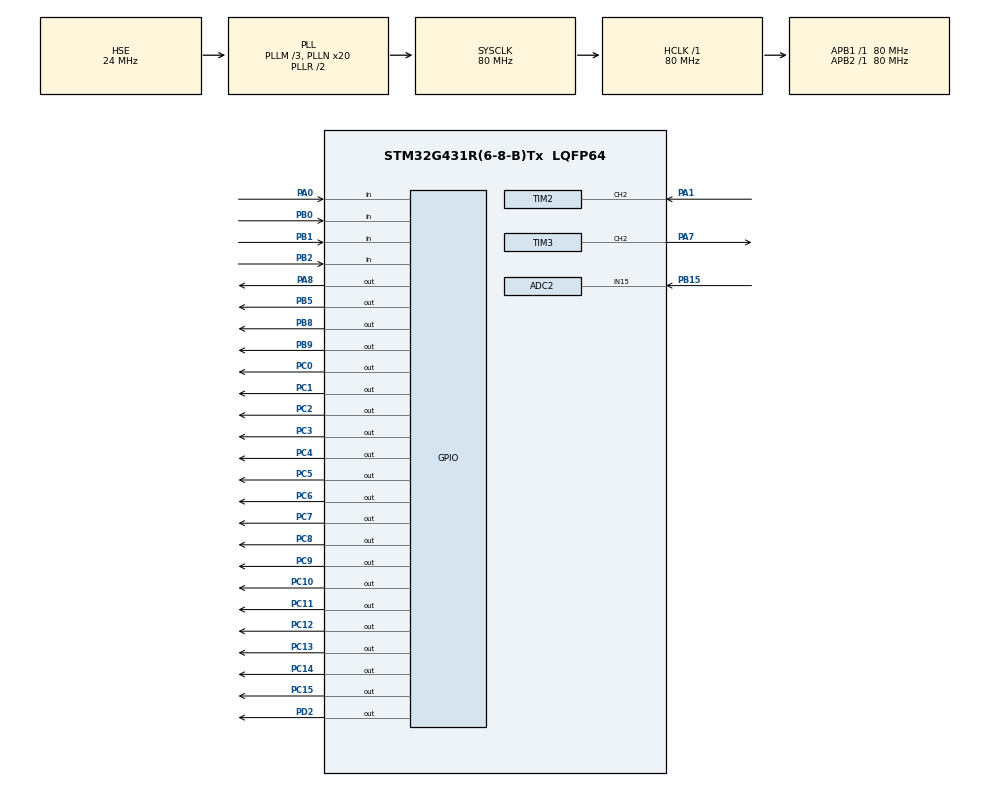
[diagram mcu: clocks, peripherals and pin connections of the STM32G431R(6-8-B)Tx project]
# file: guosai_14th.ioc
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ADC2.Channel-0\#ChannelRegularConversion=ADC_CHANNEL_15
ADC2.NbrOfConversionFlag=1
ADC2.OffsetNumber-0\#ChannelRegularConversion=ADC_OFFSET_NONE
ADC2.Rank-0\#ChannelRegularConversion=1
ADC2.SamplingTime-0\#ChannelRegularConversion=ADC_SAMPLETIME_2CYCLES_5
Mcu.Family=STM32G4
Mcu.Name=STM32G431R(6-8-B)Tx
Mcu.Package=LQFP64
NVIC.PriorityGroup=NVIC_PRIORITYGROUP_4
NVIC.TIM2_IRQn=true\:0\:0\:false\:false\:true\:true\:true\:true
NVIC.TIM4_IRQn=true\:0\:0\:false\:false\:true\:true\:true\:true
PA0.GPIO_PuPd=GPIO_PULLUP
PA0.Signal=GPIO_Input
PA1.Signal=S_TIM2_CH2
PA13.Mode=Serial_Wire
PA13.Signal=SYS_JTMS-SWDIO
PA14.Mode=Serial_Wire
PA14.Signal=SYS_JTCK-SWCLK
PA7.Signal=S_TIM3_CH2
PA8.Signal=GPIO_Output
PB0.GPIO_PuPd=GPIO_PULLUP
PB0.Signal=GPIO_Input
PB1.GPIO_PuPd=GPIO_PULLUP
PB1.Signal=GPIO_Input
PB15.Mode=IN15-Single-Ended
PB15.Signal=ADC2_IN15
PB2.GPIO_PuPd=GPIO_PULLUP
PB2.Signal=GPIO_Input
PB5.Signal=GPIO_Output
PB8-BOOT0.Signal=GPIO_Output
PB9.Signal=GPIO_Output
PC0.Signal=GPIO_Output
PC1.Signal=GPIO_Output
PC10.PinState=GPIO_PIN_SET
PC10.Signal=GPIO_Output
PC11.PinState=GPIO_PIN_SET
PC11.Signal=GPIO_Output
PC12.PinState=GPIO_PIN_SET
PC12.Signal=GPIO_Output
PC13.PinState=GPIO_PIN_SET
PC13.Signal=GPIO_Output
PC14-OSC32_IN.PinState=GPIO_PIN_SET
PC14-OSC32_IN.Signal=GPIO_Output
PC15-OSC32_OUT.PinState=GPIO_PIN_SET
PC15-OSC32_OUT.Signal=GPIO_Output
PC2.Signal=GPIO_Output
PC3.Signal=GPIO_Output
PC4.Signal=GPIO_Output
PC5.Signal=GPIO_Output
PC6.Signal=GPIO_Output
PC7.Signal=GPIO_Output
PC8.PinState=GPIO_PIN_SET
PC8.Signal=GPIO_Output
PC9.PinState=GPIO_PIN_SET
PC9.Signal=GPIO_Output
PD2.Signal=GPIO_Output
PF0-OSC_IN.Mode=HSE-External-Oscillator
PF0-OSC_IN.Signal=RCC_OSC_IN
PF1-OSC_OUT.Mode=HSE-External-Oscillator
PF1-OSC_OUT.Signal=RCC_OSC_OUT
ProjectManager.HeapSize=0x200
ProjectManager.StackSize=0x400
ProjectManager.TargetToolchain=MDK-ARM V5.32
RCC.ADC12Freq_Value=80000000
RCC.AHBFreq_Value=80000000
RCC.APB1Freq_Value=80000000
RCC.APB1TimFreq_Value=80000000
RCC.APB2Freq_Value=80000000
RCC.APB2TimFreq_Value=80000000
RCC.CortexFreq_Value=80000000
RCC.EXTERNAL_CLOCK_VALUE=12288000
RCC.HCLKFreq_Value=80000000
RCC.HSE_VALUE=24000000
RCC.HSI48_VALUE=48000000
RCC.HSI_VALUE=16000000
RCC.LSE_VALUE=32768
RCC.PLLM=RCC_PLLM_DIV3
RCC.PLLN=20
RCC.PLLSourceVirtual=RCC_PLLSOURCE_HSE
RCC.SYSCLKFreq_VALUE=80000000
RCC.SYSCLKSource=RCC_SYSCLKSOURCE_PLLCLK
RCC.USBFreq_Value=80000000
RCC.VCOOutputFreq_Value=160000000
SH.S_TIM2_CH2.0=TIM2_CH2,Input_Capture2_from_TI2
SH.S_TIM3_CH2.0=TIM3_CH2,PWM Generation2 CH2
TIM2.Channel-Input_Capture2_from_TI2=TIM_CHANNEL_2
TIM2.Prescaler=80-1
TIM3.Channel-PWM\ Generation2\ CH2=TIM_CHANNEL_2
TIM3.PeriodNoDither=100-1
TIM3.Prescaler=800-1
TIM3.PulseNoDither_2=10
TIM4.PeriodNoDither=10000-1
TIM4.Prescaler=80-1
VP_SYS_VS_DBSignals.Mode=DisableDeadBatterySignals
VP_TIM2_VS_ClockSourceINT.Mode=Internal
VP_TIM3_VS_ClockSourceINT.Mode=Internal
VP_TIM4_VS_ClockSourceINT.Mode=Internal
board=custom

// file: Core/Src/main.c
/* USER CODE BEGIN Header */
/**
  ******************************************************************************
  * @file           : main.c
  * @brief          : Main program body
  ******************************************************************************
  * @attention
  *
  * Copyright (c) 2024 STMicroelectronics.
  * All rights reserved.
  *
  * This software is licensed under terms that can be found in the LICENSE file
  * in the root directory of this software component.
  * If no LICENSE file comes with this software, it is provided AS-IS.
  *
  ******************************************************************************
  */
/* USER CODE END Header */
#include "main.h"
#include "adc.h"
#include "tim.h"
#include "gpio.h"

/* USER CODE BEGIN Includes */

#include "stdio.h"
#include "string.h"
#include "led.h"
#include "myadc.h"
#include "timer.h"
#include "lcd.h"
#include "ds18b20_hal.h"

/* USER CODE END Includes */

/* USER CODE BEGIN PTD */

unsigned char ucled=0x00;
unsigned char lcd_text[30];

__IO uint32_t uwTick_Lcd;
__IO uint32_t uwTick_Led;

unsigned char view=0;

double A_r37=0;//R37的电压
double T=0;//采集到的温度值

int FH=2000;//频率上限
double AH=3.0;//电压上限
int TH=30;//温度上限

unsigned int FN=0;//频率报警次数
unsigned int AN=0;//电压报警次数
unsigned int TN=0;//温度报警次数

int FP=1;//脉冲回放分频系数
double VP=0.9;//电压信号回放最小值
int TT=6;//记录回放时间

unsigned char lock=0;//锁
unsigned char choose_temp_1;//报警参数界面选择需要修改的参数
unsigned char choose_temp_3;//回放设置选择需要修改的参数

unsigned char signal=0;//选择回放哪个

//记录信号
double store_r37;
unsigned int store_frq;
int store_t;//记录时长
double store_duty;

/* USER CODE END PTD */

void SystemClock_Config(void);
/* USER CODE BEGIN PFP */

void lcd_proc(void);
void key_proc(void);
void led_proc(void);
void signal_pre(void);

/* USER CODE END PFP */

int main(void)
{

  /* MCU Configuration--------------------------------------------------------*/

  /* Reset of all peripherals, Initializes the Flash interface and the Systick. */
  HAL_Init();

  /* Configure the system clock */
  SystemClock_Config();

  /* Initialize all configured peripherals */
  MX_GPIO_Init();
  MX_ADC2_Init();
  MX_TIM2_Init();
  MX_TIM3_Init();
  MX_TIM4_Init();
  /* USER CODE BEGIN 2 */

    LCD_Init();
    LCD_Clear(Black);
    LCD_SetBackColor(Black);
    LCD_SetTextColor(White);

    led_disp(ucled);

    HAL_TIM_Base_Start_IT(&htim4);

    HAL_TIM_IC_Start_IT(&htim2,TIM_CHANNEL_2);

    HAL_TIM_PWM_Start(&htim3,TIM_CHANNEL_2);

    //等待DS18B20温度转换完成，防止插拔接口时产生的误读
    while(((unsigned int)re_temperature())==85.0);

  /* USER CODE END 2 */

  /* Infinite loop */
  while (1)
  {

    /* USER CODE BEGIN 3 */
      key_proc();
      lcd_proc();
      led_proc();
      signal_pre();
  }
  /* USER CODE END 3 */
}

void SystemClock_Config(void)
{
  RCC_OscInitTypeDef RCC_OscInitStruct = {0};
  RCC_ClkInitTypeDef RCC_ClkInitStruct = {0};

  /** Configure the main internal regulator output voltage
  */
  HAL_PWREx_ControlVoltageScaling(PWR_REGULATOR_VOLTAGE_SCALE1);

  /** Initializes the RCC Oscillators according to the specified parameters
  * in the RCC_OscInitTypeDef structure.
  */
  RCC_OscInitStruct.OscillatorType = RCC_OSCILLATORTYPE_HSE;
  RCC_OscInitStruct.HSEState = RCC_HSE_ON;
  RCC_OscInitStruct.PLL.PLLState = RCC_PLL_ON;
  RCC_OscInitStruct.PLL.PLLSource = RCC_PLLSOURCE_HSE;
  RCC_OscInitStruct.PLL.PLLM = RCC_PLLM_DIV3;
  RCC_OscInitStruct.PLL.PLLN = 20;
  RCC_OscInitStruct.PLL.PLLP = RCC_PLLP_DIV2;
  RCC_OscInitStruct.PLL.PLLQ = RCC_PLLQ_DIV2;
  RCC_OscInitStruct.PLL.PLLR = RCC_PLLR_DIV2;
  if (HAL_RCC_OscConfig(&RCC_OscInitStruct) != HAL_OK)
  {
    Error_Handler();
  }

  /** Initializes the CPU, AHB and APB buses clocks
  */
  RCC_ClkInitStruct.ClockType = RCC_CLOCKTYPE_HCLK|RCC_CLOCKTYPE_SYSCLK
                              |RCC_CLOCKTYPE_PCLK1|RCC_CLOCKTYPE_PCLK2;
  RCC_ClkInitStruct.SYSCLKSource = RCC_SYSCLKSOURCE_PLLCLK;
  RCC_ClkInitStruct.AHBCLKDivider = RCC_SYSCLK_DIV1;
  RCC_ClkInitStruct.APB1CLKDivider = RCC_HCLK_DIV1;
  RCC_ClkInitStruct.APB2CLKDivider = RCC_HCLK_DIV1;

  if (HAL_RCC_ClockConfig(&RCC_ClkInitStruct, FLASH_LATENCY_2) != HAL_OK)
  {
    Error_Handler();
  }
}

/* USER CODE BEGIN 4 */

void lcd_proc(void)
{
    if((uwTick-uwTick_Lcd)<100)return;
    uwTick_Lcd=uwTick;

    A_r37=GetAdc(&hadc2);
    T=re_temperature();

    switch(view)
    {
        case 0://实时数据界面
            memset(lcd_text,0,sizeof(lcd_text));
            sprintf((char *)lcd_text,"        DATA       ");
            LCD_DisplayStringLine(Line1,lcd_text);

            memset(lcd_text,0,sizeof(lcd_text));
            sprintf((char *)lcd_text,"     F=%d        ",frq);
            LCD_DisplayStringLine(Line3,lcd_text);

            memset(lcd_text,0,sizeof(lcd_text));
            sprintf((char *)lcd_text,"     D=%0.0f%%     ",duty);
            LCD_DisplayStringLine(Line4,lcd_text);

            memset(lcd_text,0,sizeof(lcd_text));
            sprintf((char *)lcd_text,"     A=%0.1f     ",A_r37);
            LCD_DisplayStringLine(Line5,lcd_text);

            memset(lcd_text,0,sizeof(lcd_text));
            sprintf((char *)lcd_text,"     T=%0.1f     ",T);
            LCD_DisplayStringLine(Line6,lcd_text);

            break;
        case 1://报警参数界面
            memset(lcd_text,0,sizeof(lcd_text));
            sprintf((char *)lcd_text,"        PARA        ");
            LCD_DisplayStringLine(Line1,lcd_text);

            memset(lcd_text,0,sizeof(lcd_text));
            sprintf((char *)lcd_text,"     FH=%d        ",FH);
            LCD_DisplayStringLine(Line3,lcd_text);

            memset(lcd_text,0,sizeof(lcd_text));
            sprintf((char *)lcd_text,"     AH=%0.1f     ",AH);
            LCD_DisplayStringLine(Line4,lcd_text);

            memset(lcd_text,0,sizeof(lcd_text));
            sprintf((char *)lcd_text,"     TH=%d     ",TH);
            LCD_DisplayStringLine(Line5,lcd_text);

            break;
        case 2://报警统计界面
            memset(lcd_text,0,sizeof(lcd_text));
            sprintf((char *)lcd_text,"        RECD     ");
            LCD_DisplayStringLine(Line1,lcd_text);

            memset(lcd_text,0,sizeof(lcd_text));
            sprintf((char *)lcd_text,"     FN=%d        ",FN);
            LCD_DisplayStringLine(Line3,lcd_text);

            memset(lcd_text,0,sizeof(lcd_text));
            sprintf((char *)lcd_text,"     AN=%d      ",AN);
            LCD_DisplayStringLine(Line4,lcd_text);

            memset(lcd_text,0,sizeof(lcd_text));
            sprintf((char *)lcd_text,"     TN=%d      ",TN);
            LCD_DisplayStringLine(Line5,lcd_text);

            break;
        case 3://回放设置界面
            memset(lcd_text,0,sizeof(lcd_text));
            sprintf((char *)lcd_text,"        FSET     ");
            LCD_DisplayStringLine(Line1,lcd_text);

            memset(lcd_text,0,sizeof(lcd_text));
            sprintf((char *)lcd_text,"     FP=%d        ",FP);
            LCD_DisplayStringLine(Line3,lcd_text);

            memset(lcd_text,0,sizeof(lcd_text));
            sprintf((char *)lcd_text,"     VP=%0.1f     ",VP);
            LCD_DisplayStringLine(Line4,lcd_text);

            memset(lcd_text,0,sizeof(lcd_text));
            sprintf((char *)lcd_text,"     TT=%d     ",TT);
            LCD_DisplayStringLine(Line5,lcd_text);

            break;
    }
}

void key_proc(void)
{
    if((1==key[0].single_flag)&&(0==lock))//界面切换按键
    {
        key[0].single_flag=0;
        if(0==view)choose_temp_1=0;
        if(2==view)choose_temp_3=0;
        view++;
        if(4==view)view=0;

        LCD_Clear(Black);
    }
    if((1==key[1].single_flag)&&(0==lock))
    {
        key[1].single_flag=0;
        if(0==view)//实时数据界面下，记录R37电压和PA1引脚的频率、占空比，记录完成前，其他按键失效
        {
            lock=1;
            store_t=TT;
        }
        else if(1==view)//报警参数界面下
        {
            choose_temp_1++;
            if(3==choose_temp_1)choose_temp_1=0;
        }
        else if(3==view)//回放设置界面下
        {
            choose_temp_3++;
            if(3==choose_temp_3)choose_temp_3=0;
        }
        else if(2==view)//报警统计界面下，清零频率、电压和温度报警统计次数
        {
            FN=0;
            AN=0;
            TN=0;
        }
    }
    if((0==lock)&&(1==key[2].long_flag)&&(1==key[3].long_flag))
    {
        key[2].long_flag=0;key[3].long_flag=0;

            view=0;
            FH=2000;
            AH=3.0;
            TH=30;
            FP=1;
            VP=0.9;
            TT=6;
            FN=0;
            AN=0;
            TN=0;
    }
    if((1==key[2].single_flag)&&(0==lock))//加按键
    {
        key[2].single_flag=0;
        if(1==view)//报警参数界面下
        {
            switch(choose_temp_1)
            {
                case 0://选择频率上限参数(FH),FH值加1000HZ，可调整范围是1KHZ-10KHZ
                    FH+=1000;
                    if(FH>=11000)FH=1000;
                    break;
                case 1://选择电压上限参数(AH),AH值加0.3V，可调整范围：0V-3.3V
                    AH+=0.3;
                    if(AH>3.3)AH=0;
                    break;
                case 2://选择温度上限参数(TH)，TH值加1°C，可调整范围：0°C-80°C
                    TH+=1;
                    if(TH>80)TH=0;
                    break;
            }
        }
        else if(3==view)//设置回放界面下
        {
            switch(choose_temp_3)
            {
                case 0://选择脉冲信号回放分频参数(FP)，FP值加1，可调整范围：1-10
                    FP+=1;
                    if(FP>=11)FP=1;
                    break;
                case 1://选择电压信号回放最小值(VP)，VP值加0.3V，可调整范围：0V-3.3V
                    VP+=0.3;
                    if(VP>3.3)VP=0;
                    break;
                case 2://选择记录回放时间（TT）,TT值加2秒，可调整范围：2秒-10秒
                    TT+=2;
                    if(TT>10)TT=2;
                    break;
            }
        }
        else if(0==view)//实时数据界面下
        {
            //回放电压信号
            signal=1;
        }
    }
    if((1==key[3].single_flag)&&(0==lock))//减按键
    {
        key[3].single_flag=0;
        if(1==view)//报警参数界面下
        {
            switch(choose_temp_1)
            {
                case 0://选择频率上限参数(FH),FH值减1000HZ，可调整范围是1KHZ-10KHZ
                    FH-=1000;
                    if(FH<=0)FH=10000;
                    break;
                case 1://选择电压上限参数(AH),AH值减0.3V,可调整范围：0V-3.3V
                    AH-=0.3;
                    if(AH<0)AH=3.3;
                    break;
                case 2://选择温度上限参数(TH)，TH值减1°C,可调整范围：0°C-80°C
                    TH-=1;
                    if(TH<0)TH=80;
                    break;
            }
        }
        else if(3==view)//设置回放界面下
        {
            switch(choose_temp_3)
            {
                case 0://选择脉冲信号回放分频参数(FP)，FP值减1，可调整范围：1-10
                    FP-=1;
                    if(FP<1)FP=10;
                    break;
                case 1://选择电压信号回放最小值(VP)，VP值减0.3V，可调整范围：0V-3.3V
                    VP-=0.3;
                    if(VP<0)VP=3.3;
                    break;
                case 2://选择记录回放时间（TT）,TT值减2秒,可调整范围：2秒-10秒
                    TT-=2;
                    if(TT<2)TT=10;
                    break;
            }
        }
        else if(0==view)//实时数据界面下
        {
            //回放脉冲信号
            signal=2;
        }
    }
}

void led_proc(void)
{
    if((uwTick-uwTick_Led)<50)return;
    uwTick_Led=uwTick;

    if(frq>FH)//LD4点亮
    {
        ucled|=0x08;
    }
    else
    {
        ucled&=0xf7;
    }

    if(A_r37>AH)//LD5点亮
    {
        ucled|=0x10;
    }
    else
    {
        ucled&=0xef;
    }

    if(T>TH)//LD6点亮
    {
        ucled|=0x20;
    }
    else
    {
        ucled&=0xdf;
    }

    led_disp(ucled);

}

//信号回放
void signal_pre(void)
{
    //电压信号回放
    //PA7输出频率固定为1KHZ
    if(signal==1){
        //改变重装载值使得PA7的输出频率固定为1KHZ
        __HAL_TIM_SET_PRESCALER(&htim3,8000000/100/1000);

        if(A_r37<=VP)//占空比：10%
        {
            //占空比=比较值/重装载值*100
            __HAL_TIM_SetCompare(&htim3,TIM_CHANNEL_2,(0.1*(TIM3->ARR+1)));
        }
        else if(A_r37>=3.3)//占空比：100%
        {
            __HAL_TIM_SetCompare(&htim3,TIM_CHANNEL_2,(1.0*(TIM3->ARR+1)));
        }
        else
        {
            double value=(90.0/(3.3-VP))*A_r37+(33-80*VP)/(3.3-VP);
            __HAL_TIM_SetCompare(&htim3,TIM_CHANNEL_2,(value*(TIM3->ARR+1))/100.0);
        }
    }
    else if(signal==2)//脉冲信号回放
    {
        //将记录下来的PA1上频率和占空比通过PA7播放输出
        //输出信号频率按照FP进行分频处理
        //输出频率按照FP进行分频处理
        //占空比与记录值保持一致
        __HAL_TIM_SetCompare(&htim3,TIM_CHANNEL_2,store_duty/100.0*(store_frq));
        //该函数可以直接更改Prescaler(PSC)预分频寄存器的数值
        //频率=80MHZ/预分频系数/重装载值
        //则：预分频系数=80MHZ/重装载值/频率
        __HAL_TIM_SET_PRESCALER(&htim3,(80000000/100)/store_frq/FP);
    }
}

/* USER CODE END 4 */

void Error_Handler(void)
{
  __disable_irq();
  while (1)
  {
  }
}
